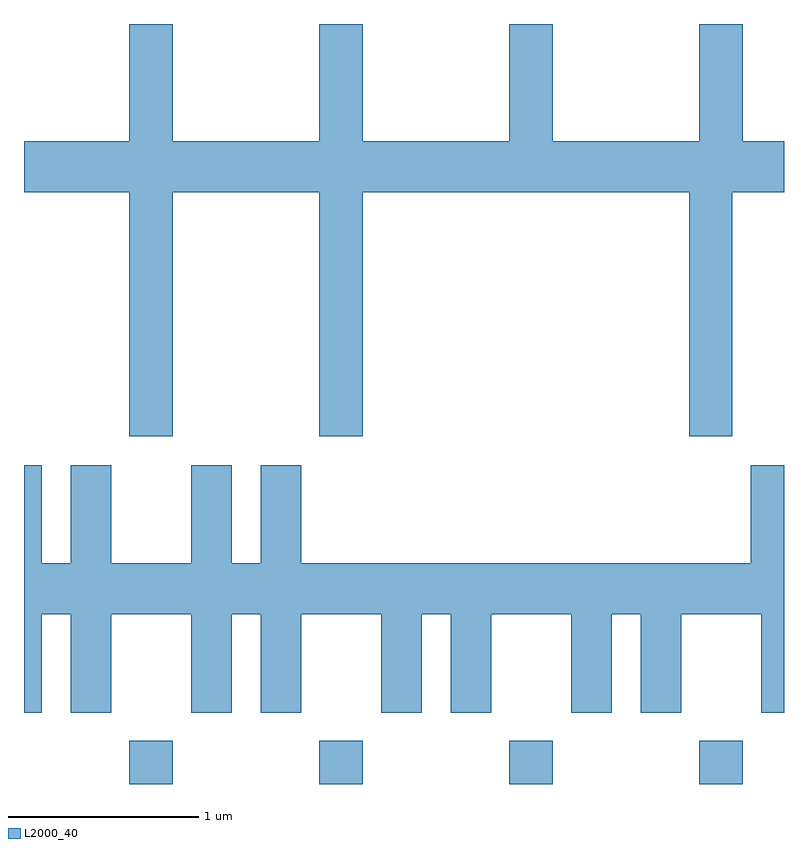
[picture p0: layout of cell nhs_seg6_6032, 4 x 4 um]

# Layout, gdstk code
import gdstk
lib = gdstk.Library(unit=1e-6, precision=1e-09)
def R(c, l, rs):  # rectangles x0, y0, x1, y1
    for r in rs: c.add(gdstk.rectangle(r[:2], r[2:], *l))
def A(c, l, x, y, w, h, nx, ny, dx, dy):  # array of equal rectangles
    R(c, l, [(x+i*dx, y+j*dy, x+i*dx+w, y+j*dy+h) for i in range(nx) for j in range(ny)])
def P(c, l, *ps):  # polygons
    for p in ps: c.add(gdstk.Polygon(p, *l))
L2000_40 = (2000, 40)

nhs_seg6_6032 = lib.new_cell('nhs_seg6_6032')
A(nhs_seg6_6032, L2000_40, 368.166, 1640.162, 0.228, 0.227, 4, 1, 1, 0)
P(nhs_seg6_6032, L2000_40, [(368.394,1643.276),(369.166,1643.276),(369.166,1641.991),(369.394,1641.991),(369.394,1643.276),(371.111,1643.276),(371.111,1641.991),(371.339,1641.991),(371.339,1643.276),(371.611,1643.276),(371.611,1643.544),(371.394,1643.544),(371.394,1644.162),(371.166,1644.162),(371.166,1643.544),(370.394,1643.544),(370.394,1644.162),(370.166,1644.162),(370.166,1643.544),(369.394,1643.544),(369.394,1644.162),(369.166,1644.162),(369.166,1643.544),(368.394,1643.544),(368.394,1644.162),(368.166,1644.162),(368.166,1643.544),(367.611,1643.544),(367.611,1643.276),(368.166,1643.276),(368.166,1641.991),(368.394,1641.991)],
  [(367.856,1641.839),(367.856,1641.324),(367.704,1641.324),(367.704,1641.839),(367.611,1641.839),(367.611,1640.536),(367.704,1640.536),(367.704,1641.056),(367.856,1641.056),(367.856,1640.536),(368.069,1640.536),(368.069,1641.056),(368.491,1641.056),(368.491,1640.536),(368.704,1640.536),(368.704,1641.056),(368.856,1641.056),(368.856,1640.536),(369.069,1640.536),(369.069,1641.056),(369.491,1641.056),(369.491,1640.536),(369.704,1640.536),(369.704,1641.056),(369.856,1641.056),(369.856,1640.536),(370.069,1640.536),(370.069,1641.056),(370.491,1641.056),(370.491,1640.536),(370.704,1640.536),(370.704,1641.056),(370.856,1641.056),(370.856,1640.536),(371.069,1640.536),(371.069,1641.056),(371.491,1641.056),(371.491,1640.536),(371.611,1640.536),(371.611,1641.839),(371.436,1641.839),(371.436,1641.324),(369.069,1641.324),(369.069,1641.839),(368.856,1641.839),(368.856,1641.324),(368.704,1641.324),(368.704,1641.839),(368.491,1641.839),(368.491,1641.324),(368.069,1641.324),(368.069,1641.839)])

lib.write_gds('nhs_seg6_6032.gds')
